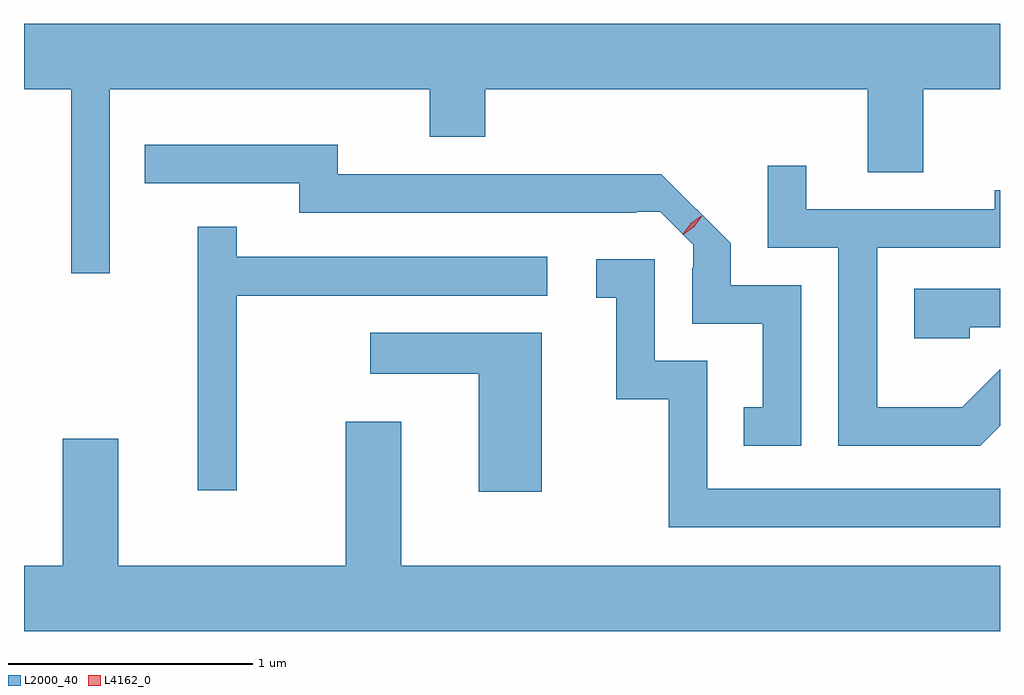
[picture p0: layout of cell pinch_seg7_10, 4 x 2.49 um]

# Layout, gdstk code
import gdstk
lib = gdstk.Library(unit=1e-6, precision=1e-09)
def P(c, l, *ps):  # polygons
    for p in ps: c.add(gdstk.Polygon(p, *l))
L2000_40 = (2000, 40)
L4162_0 = (4162, 0)

pinch_seg7_10 = lib.new_cell('pinch_seg7_10')
P(pinch_seg7_10, L2000_40, [(1099.534,1749.836),(1100.846,1749.836),(1100.846,1749.641),(1101.074,1749.641),(1101.074,1749.836),(1102.641,1749.836),(1102.641,1749.496),(1102.869,1749.496),(1102.869,1749.836),(1103.183,1749.836),(1103.183,1750.104),(1099.183,1750.104),(1099.183,1749.836),(1099.376,1749.836),(1099.376,1749.083),(1099.534,1749.083)],
  [(1102.369,1749.034),(1102.079,1749.034),(1102.079,1749.205),(1101.795,1749.489),(1100.469,1749.489),(1100.469,1749.609),(1099.678,1749.609),(1099.678,1749.451),(1100.311,1749.451),(1100.311,1749.331),(1101.695,1749.331),(1101.695,1749.335),(1101.79,1749.335),(1101.925,1749.2),(1101.925,1749.105),(1101.921,1749.105),(1101.921,1748.876),(1102.211,1748.876),(1102.211,1748.534),(1102.133,1748.534),(1102.133,1748.376),(1102.369,1748.376)],
  [(1103.183,1748.457),(1103.183,1748.688),(1103.029,1748.534),(1102.679,1748.534),(1102.679,1749.186),(1103.183,1749.186),(1103.183,1749.423),(1103.161,1749.423),(1103.161,1749.344),(1102.389,1749.344),(1102.389,1749.523),(1102.231,1749.523),(1102.231,1749.186),(1102.521,1749.186),(1102.521,1748.376),(1103.102,1748.376)],
  [(1100.054,1748.991),(1101.328,1748.991),(1101.328,1749.149),(1100.054,1749.149),(1100.054,1749.273),(1099.896,1749.273),(1099.896,1748.193),(1100.054,1748.193)],
  [(1103.183,1748.199),(1101.984,1748.199),(1101.984,1748.724),(1101.769,1748.724),(1101.769,1749.139),(1101.528,1749.139),(1101.528,1748.981),(1101.611,1748.981),(1101.611,1748.566),(1101.826,1748.566),(1101.826,1748.041),(1103.183,1748.041)],
  [(1103.059,1748.861),(1103.183,1748.861),(1103.183,1749.019),(1102.831,1749.019),(1102.831,1748.816),(1103.059,1748.816)],
  [(1101.304,1748.839),(1100.603,1748.839),(1100.603,1748.671),(1101.046,1748.671),(1101.046,1748.186),(1101.304,1748.186)],
  [(1103.183,1747.884),(1100.729,1747.884),(1100.729,1748.474),(1100.501,1748.474),(1100.501,1747.884),(1099.569,1747.884),(1099.569,1748.404),(1099.341,1748.404),(1099.341,1747.884),(1099.183,1747.884),(1099.183,1747.616),(1103.183,1747.616)])
P(pinch_seg7_10, L4162_0, [(1101.883,1749.241),(1101.883,1749.242),(1101.916,1749.287),(1101.962,1749.318),(1101.962,1749.318),(1101.962,1749.318),(1101.93,1749.272),(1101.884,1749.241)],
  [(1101.885,1749.245),(1101.885,1749.246),(1101.915,1749.288),(1101.957,1749.316),(1101.958,1749.316),(1101.958,1749.316),(1101.928,1749.274),(1101.886,1749.245)])

lib.write_gds('pinch_seg7_10.gds')
